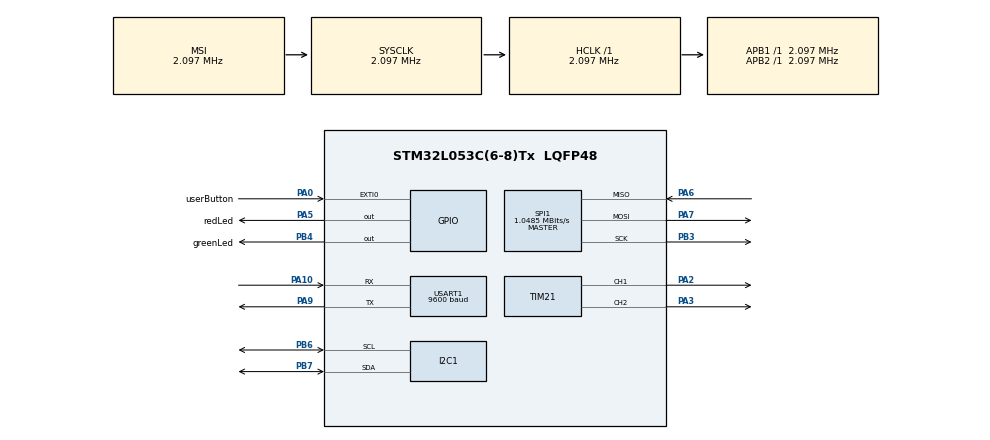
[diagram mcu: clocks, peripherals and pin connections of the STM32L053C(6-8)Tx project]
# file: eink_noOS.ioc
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Dma.Request0=USART1_RX
Dma.USART1_RX.0.Direction=DMA_PERIPH_TO_MEMORY
Dma.USART1_RX.0.Instance=DMA1_Channel3
Dma.USART1_RX.0.MemDataAlignment=DMA_MDATAALIGN_BYTE
Dma.USART1_RX.0.MemInc=DMA_MINC_ENABLE
Dma.USART1_RX.0.Mode=DMA_NORMAL
Dma.USART1_RX.0.PeriphDataAlignment=DMA_PDATAALIGN_BYTE
Dma.USART1_RX.0.PeriphInc=DMA_PINC_DISABLE
Dma.USART1_RX.0.Priority=DMA_PRIORITY_HIGH
Mcu.Family=STM32L0
Mcu.Name=STM32L053C(6-8)Tx
Mcu.Package=LQFP48
NVIC.DMA1_Channel2_3_IRQn=true\:0\:0\:false\:false\:true\:true
NVIC.EXTI0_1_IRQn=true\:0\:0\:false\:false\:true\:true
PA0.GPIO_Label=userButton
PA0.GPIO_ModeDefaultEXTI=GPIO_MODE_IT_RISING_FALLING
PA0.Signal=GPXTI0
PA10.Mode=Asynchronous
PA10.Signal=USART1_RX
PA2.Signal=S_TIM21_CH1
PA3.Signal=S_TIM21_CH2
PA5.GPIO_Label=redLed
PA5.Signal=GPIO_Output
PA6.Mode=Full_Duplex_Master
PA6.Signal=SPI1_MISO
PA7.Mode=Full_Duplex_Master
PA7.Signal=SPI1_MOSI
PA9.Mode=Asynchronous
PA9.Signal=USART1_TX
PB3.Mode=Full_Duplex_Master
PB3.Signal=SPI1_SCK
PB4.GPIO_Label=greenLed
PB4.Signal=GPIO_Output
PB6.Mode=I2C
PB6.Signal=I2C1_SCL
PB7.Mode=I2C
PB7.Signal=I2C1_SDA
PC14-OSC32_IN.Mode=LSE-External-Oscillator
PC14-OSC32_IN.Signal=RCC_OSC32_IN
PC15-OSC32_OUT.Mode=LSE-External-Oscillator
PC15-OSC32_OUT.Signal=RCC_OSC32_OUT
PH0-OSC_IN.Mode=HSE-External-Oscillator
PH0-OSC_IN.Signal=RCC_OSC_IN
PH1-OSC_OUT.Mode=HSE-External-Oscillator
PH1-OSC_OUT.Signal=RCC_OSC_OUT
ProjectManager.HeapSize=0x200
ProjectManager.StackSize=0x400
ProjectManager.TargetToolchain=Makefile
RCC.AHBFreq_Value=2097000
RCC.APB1Freq_Value=2097000
RCC.APB1TimFreq_Value=2097000
RCC.APB2Freq_Value=2097000
RCC.APB2TimFreq_Value=2097000
RCC.HSE_VALUE=8000000
RCC.HSI16_VALUE=16000000
RCC.HSI48_VALUE=48000000
RCC.HSI_VALUE=16000000
RCC.MSI_VALUE=2097000
RCC.SYSCLKFreq_VALUE=2097000
RCC.VCOOutputFreq_Value=48000000
SH.S_TIM21_CH1.0=TIM21_CH1,Output Compare1 CH1
SH.S_TIM21_CH2.0=TIM21_CH2,PWM Generation2 CH2
SPI1.CalculateBaudRate=1.0485 MBits/s
SPI1.Direction=SPI_DIRECTION_2LINES
SPI1.Mode=SPI_MODE_MASTER
SPI1.VirtualType=VM_MASTER
TIM21.Channel-Output\ Compare1\ CH1=TIM_CHANNEL_1
TIM21.Channel-PWM\ Generation2\ CH2=TIM_CHANNEL_2
USART1.BaudRate=9600
USART1.VirtualMode-Asynchronous=VM_ASYNC
USART1.WordLength=WORDLENGTH_8B
VP_TIM21_VS_ClockSourceINT.Mode=Internal
board=eink_noOS

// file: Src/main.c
/**
  ******************************************************************************
  * @file           : main.c
  * @brief          : Main program body
  ******************************************************************************
  ** This notice applies to any and all portions of this file
  * that are not between comment pairs USER CODE BEGIN and
  * USER CODE END. Other portions of this file, whether
  * inserted by the user or by software development tools
  * are owned by their respective copyright owners.
  *
  * COPYRIGHT(c) 2019 STMicroelectronics
  *
  * Redistribution and use in source and binary forms, with or without modification,
  * are permitted provided that the following conditions are met:
  *   1. Redistributions of source code must retain the above copyright notice,
  *      this list of conditions and the following disclaimer.
  *   2. Redistributions in binary form must reproduce the above copyright notice,
  *      this list of conditions and the following disclaimer in the documentation
  *      and/or other materials provided with the distribution.
  *   3. Neither the name of STMicroelectronics nor the names of its contributors
  *      may be used to endorse or promote products derived from this software
  *      without specific prior written permission.
  *
  * THIS SOFTWARE IS PROVIDED BY THE COPYRIGHT HOLDERS AND CONTRIBUTORS "AS IS"
  * AND ANY EXPRESS OR IMPLIED WARRANTIES, INCLUDING, BUT NOT LIMITED TO, THE
  * IMPLIED WARRANTIES OF MERCHANTABILITY AND FITNESS FOR A PARTICULAR PURPOSE ARE
  * DISCLAIMED. IN NO EVENT SHALL THE COPYRIGHT HOLDER OR CONTRIBUTORS BE LIABLE
  * FOR ANY DIRECT, INDIRECT, INCIDENTAL, SPECIAL, EXEMPLARY, OR CONSEQUENTIAL
  * DAMAGES (INCLUDING, BUT NOT LIMITED TO, PROCUREMENT OF SUBSTITUTE GOODS OR
  * SERVICES; LOSS OF USE, DATA, OR PROFITS; OR BUSINESS INTERRUPTION) HOWEVER
  * CAUSED AND ON ANY THEORY OF LIABILITY, WHETHER IN CONTRACT, STRICT LIABILITY,
  * OR TORT (INCLUDING NEGLIGENCE OR OTHERWISE) ARISING IN ANY WAY OUT OF THE USE
  * OF THIS SOFTWARE, EVEN IF ADVISED OF THE POSSIBILITY OF SUCH DAMAGE.
  *
  ******************************************************************************
  */
#include "main.h"
#include "stm32l0xx_hal.h"
#include "dma.h"
#include "i2c.h"
#include "spi.h"
#include "tim.h"
#include "usart.h"
#include "gpio.h"

/* USER CODE BEGIN Includes */
#include "string.h"
#include "stm32l0538_discovery_epd.h"

/* USER CODE END Includes */

/* USER CODE BEGIN PV */
/* Private variables ---------------------------------------------------------*/
static volatile void (*stateFunction)(void);
static volatile int breakout = false; // break out of function during interrupt
static volatile HAL_StatusTypeDef result;
/* USER CODE END PV */

void SystemClock_Config(void);

/* USER CODE BEGIN PFP */
/* Private function prototypes -----------------------------------------------*/

/* USER CODE END PFP */

/* USER CODE BEGIN 0 */

static void update(void){
	switch (STATE){
		case WAITING_FOR_USART:
	    result = HAL_UART_Receive_DMA(&huart1, &picture, PICTURE_SIZE);
			if (workStarted){ // TRANSITION TO WORK
				STATE = WORKING;
				stateFunction = working_fn;
				breakout = true;
			}
			break;
		case WORKING:
			if (rxDone){ // TRANSITION TO DONE
				STATE = DONE;
				stateFunction = done_fn;
				breakout = true;
			}
			break;

		case DONE: // HALT
			break;
	}

}

void *waiting_for_usart_fn(void){
	int i;
	toggleRed();
	for (i = 0; i < 50000; i++){
		if (breakout){
			breakout = false;
			return NULL;
		}
	}
}

void *working_fn(void){
	int i;
	toggleRed();
	for (i = 0; i < 10000; i++){
		if (breakout){
			breakout = false;
			return NULL;
		}
	}
	toggleGreen();
	for (i = 0; i < 10000; i++){
		if (breakout){
			breakout = false;
			return NULL;
		}
	}
}

void *done_fn(void){
	greenOn();
	redOff();
	//BSP_EPD_RefreshDisplay();
	BSP_EPD_DrawImage(0, 0, 72, 172, (uint8_t*) picture);
	BSP_EPD_RefreshDisplay();
	for(;;);
}

void externalInterrupt(void){
	usrButtonPressed = 1 - usrButtonPressed;
	update();
	pressHold = usrButtonPressed;
}

void dmaInterrupt(void){
  //rxDone = true;
  done_fn();
  while(1){}
}

void usartInterrupt(void){
	//__HAL_UART_DISABLE_IT(&huart1, UART_IT_RXNE);
	//result = HAL_UART_Receive_DMA(&huart1, &picture[lastIndex], USART_BUFFER_SIZE);
	if (result != HAL_OK){

	}
}

void HAL_UART_RxHalfCpltCallback(UART_HandleTypeDef *huart){
}

void HAL_UART_RxCpltCallback(UART_HandleTypeDef *huart){ // overwriting weak. callback for when we receive 8 full bytes
}
/* USER CODE END 0 */

int main(void)
{
  /* USER CODE BEGIN 1 */
	STATE = WAITING_FOR_USART;
	usrButtonPressed = pressHold = false;
	rxDone = rxStarted = workStarted = false;
	stateFunction = waiting_for_usart_fn;

  /* USER CODE END 1 */

  /* MCU Configuration----------------------------------------------------------*/

  /* Reset of all peripherals, Initializes the Flash interface and the Systick. */
  HAL_Init();

  /* Configure the system clock */
  SystemClock_Config();

  /* Initialize all configured peripherals */
  MX_GPIO_Init();
  MX_DMA_Init();
  MX_USART1_UART_Init();
  MX_TIM21_Init();
  MX_I2C1_Init();
  MX_SPI1_Init();
  /* USER CODE BEGIN 2 */
	BSP_EPD_Init();
	//BSP_EPD_RefreshDisplay();
	//__HAL_UART_ENABLE_IT(&huart1, UART_IT_RXNE);
	__HAL_DMA_ENABLE_IT(&hdma_usart1_rx, DMA_IT_TC);
  /* USER CODE END 2 */

  /* Infinite loop */
  /* USER CODE BEGIN WHILE */

	for(;;){
		update();
		stateFunction();
	}

  /* USER CODE END WHILE */

}

void SystemClock_Config(void)
{

  RCC_OscInitTypeDef RCC_OscInitStruct;
  RCC_ClkInitTypeDef RCC_ClkInitStruct;
  RCC_PeriphCLKInitTypeDef PeriphClkInit;

    /**Configure the main internal regulator output voltage
    */
  __HAL_PWR_VOLTAGESCALING_CONFIG(PWR_REGULATOR_VOLTAGE_SCALE1);

    /**Initializes the CPU, AHB and APB busses clocks
    */
  RCC_OscInitStruct.OscillatorType = RCC_OSCILLATORTYPE_MSI;
  RCC_OscInitStruct.MSIState = RCC_MSI_ON;
  RCC_OscInitStruct.MSICalibrationValue = 0;
  RCC_OscInitStruct.MSIClockRange = RCC_MSIRANGE_5;
  RCC_OscInitStruct.PLL.PLLState = RCC_PLL_NONE;
  if (HAL_RCC_OscConfig(&RCC_OscInitStruct) != HAL_OK)
  {
    _Error_Handler(__FILE__, __LINE__);
  }

    /**Initializes the CPU, AHB and APB busses clocks
    */
  RCC_ClkInitStruct.ClockType = RCC_CLOCKTYPE_HCLK|RCC_CLOCKTYPE_SYSCLK
                              |RCC_CLOCKTYPE_PCLK1|RCC_CLOCKTYPE_PCLK2;
  RCC_ClkInitStruct.SYSCLKSource = RCC_SYSCLKSOURCE_MSI;
  RCC_ClkInitStruct.AHBCLKDivider = RCC_SYSCLK_DIV1;
  RCC_ClkInitStruct.APB1CLKDivider = RCC_HCLK_DIV1;
  RCC_ClkInitStruct.APB2CLKDivider = RCC_HCLK_DIV1;

  if (HAL_RCC_ClockConfig(&RCC_ClkInitStruct, FLASH_LATENCY_0) != HAL_OK)
  {
    _Error_Handler(__FILE__, __LINE__);
  }

  PeriphClkInit.PeriphClockSelection = RCC_PERIPHCLK_USART1|RCC_PERIPHCLK_I2C1;
  PeriphClkInit.Usart1ClockSelection = RCC_USART1CLKSOURCE_PCLK2;
  PeriphClkInit.I2c1ClockSelection = RCC_I2C1CLKSOURCE_PCLK1;
  if (HAL_RCCEx_PeriphCLKConfig(&PeriphClkInit) != HAL_OK)
  {
    _Error_Handler(__FILE__, __LINE__);
  }

    /**Configure the Systick interrupt time
    */
  HAL_SYSTICK_Config(HAL_RCC_GetHCLKFreq()/1000);

    /**Configure the Systick
    */
  HAL_SYSTICK_CLKSourceConfig(SYSTICK_CLKSOURCE_HCLK);

  /* SysTick_IRQn interrupt configuration */
  HAL_NVIC_SetPriority(SysTick_IRQn, 0, 0);
}

void _Error_Handler(char *file, int line)
{
  while(1)
  {
  }
}

/************************ (C) COPYRIGHT STMicroelectronics *****END OF FILE****/
